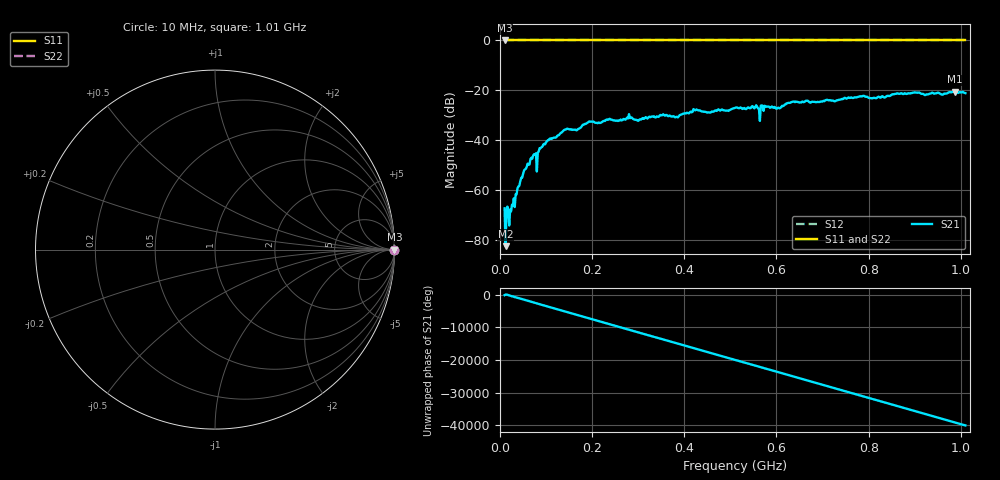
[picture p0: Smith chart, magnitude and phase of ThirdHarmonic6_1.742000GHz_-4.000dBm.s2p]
! 8/16/2025 8:59:52 PM
! C:\ANRITSUVNA\TEMP\TEMP.S2P
! CHANNEL.1
! TR.MEASUREMENT
! RAW.DATA
! RF.CORRECTION.OFF
! AVERAGING.OFF
! IF.BANDWIDTH: 5KHZ
! SWEEPTYPE:  FREQ.SWEEP(Linear)
! Reference Plane Port Info
! PORT:  PORT1  PORT2
! DISTANCE:  0  m  0  m
! TIME:  0  s  0  s
! PHASE.OFFSET:  0  deg.  0  deg.
! LOSS:  0  dB  0  dB
! REF.LOSS:  0  dB  0  dB
! REF.FREQ:  0  Hz  0  Hz
! Power Info
! POWER:  -20  dBm  -20  dBm
! EFF.POWER:  -20  dBm  -20  dBm
! SOURCE.ATTEN:  0  dB  0  dB
! TEST.ATTEN:  0  dB  0  dB
# GHZ S RI R 50.0
! FREQ.GHZ  S11RE  S11IM  S21RE  S21IM  S12RE  S12IM  S22RE  S22IM
!; PortSelection: Port_12
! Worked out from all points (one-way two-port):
!   501 points, 10 MHz to 1.01 GHz, reference 50 ohm
!   highest |S21| = -20.49 dB at 988 MHz (marker M1); lowest = -82.3 dB at 12 MHz (marker M2)
!   lowest |S11| = 0.0 dB at 10 MHz (marker M3)
!   |S11| at or under -10 dB: nowhere
!   |S22| runs from 0.0 to 0.0 dB; largest |S21 - S12| = 1.1
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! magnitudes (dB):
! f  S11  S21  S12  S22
! 10 MHz  0.0  -67.2  0.0  0.0
! 12 MHz  0.0  -82.3  0.0  0.0
! 16 MHz  0.0  -66.5  0.0  0.0
! 18 MHz  0.0  -68.4  0.0  0.0
! 24 MHz  0.0  -68.4  0.0  0.0
! 50 MHz  0.0  -53.4  0.0  0.0
! 70 MHz  0.0  -47.3  0.0  0.0
! 80 MHz  0.0  -52.4  0.0  0.0
! 86 MHz  0.0  -43.1  0.0  0.0
! 106 MHz  0.0  -39.8  0.0  0.0
! 142 MHz  0.0  -35.7  0.0  0.0
! 178 MHz  0.0  -34.2  0.0  0.0
! 196 MHz  0.0  -32.5  0.0  0.0
! 344 MHz  0.0  -30.6  0.0  0.0
! 510 MHz  0.0  -27.0  0.0  0.0
! 562 MHz  0.0  -27.4  0.0  0.0
! 604 MHz  0.0  -26.9  0.0  0.0
! 634 MHz  0.0  -24.6  0.0  0.0
! 678 MHz  0.0  -24.5  0.0  0.0
! 844 MHz  0.0  -22.2  0.0  0.0
! 988 MHz  0.0  -20.5  0.0  0.0
! 1.01 GHz  0.0  -21.1  0.0  0.0
